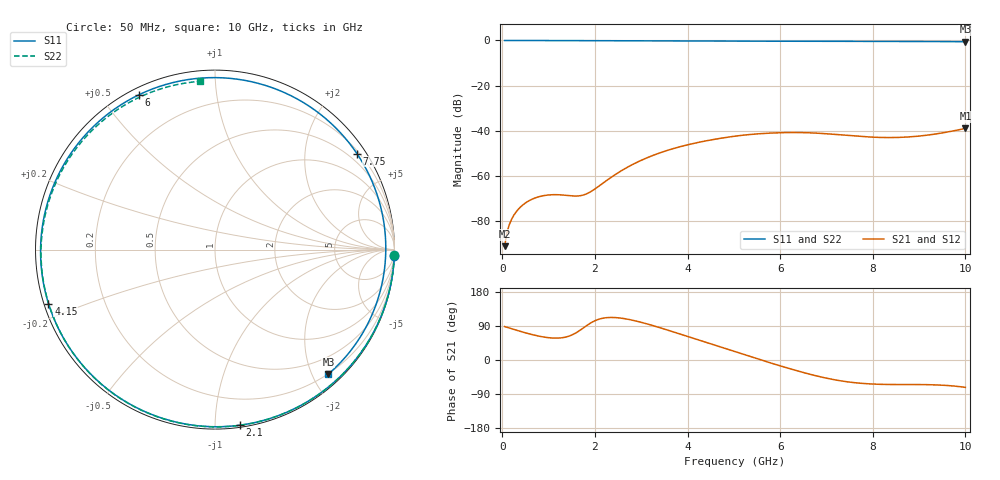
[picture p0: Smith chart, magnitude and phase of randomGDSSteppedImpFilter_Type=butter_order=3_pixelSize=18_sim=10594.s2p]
! freq	dB(S11)	phase(S11)	dB(S12)	phase(S12)
!  dB(S21)	phase(S21)	dB(S22)	phase(S22)
!S-par simulation data
#  GHz  S  DB  R 50
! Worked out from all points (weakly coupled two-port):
!   200 points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, 50 MHz to 10 GHz, reference 50 ohm
!   highest |S21| = -38.91 dB at 10 GHz (marker M1); lowest = -91.0 dB at 50 MHz (marker M2)
!   lowest |S11| = -0.6 dB at 10 GHz (marker M3), VSWR 31.19, Z = 9.77 - j112 ohm
!   |S11| at or under -10 dB: nowhere
!   |S22| runs from -0.5 to 0.0 dB; largest |S21 - S12| = 0
!   S11 on the Smith chart (normalised r, x): 50 MHz: 1, -57; 2.1 GHz: 0.01, -1.15; 4.15 GHz: 0.01, -0.16; 6 GHz: 0.03, +0.62; 7.75 GHz: 0.27, +3.24; 10 GHz: 0.20, -2.25
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0.05  -0.00 -2.0  -91.04 88.2  -91.04 88.2  -0.00 -1.8
0.15  -0.01 -6.0  -81.59 84.6  -81.59 84.6  -0.01 -5.4
0.45  -0.02 -17.8  -72.67 73.4  -72.67 73.4  -0.02 -16.2
0.75  -0.03 -29.6  -69.41 64.0  -69.41 64.0  -0.03 -26.8
1.25  -0.06 -49.1  -68.32 58.2  -68.32 58.2  -0.05 -44.1
1.75  -0.09 -68.4  -68.40 84.6  -68.40 84.6  -0.07 -60.7
2.1  -0.10 -81.8  -64.26 108.1  -64.26 108.1  -0.09 -71.8
2.75  -0.14 -106.8  -55.57 106.6  -55.57 106.6  -0.11 -91.2
3.4  -0.17 -132.0  -49.77 85.4  -49.77 85.4  -0.13 -109.3
4.15  -0.22 -162.0  -45.49 56.3  -45.49 56.3  -0.16 -128.7
4.6  -0.25 179.2  -43.69 38.8  -43.69 38.8  -0.18 -139.7
5.05  -0.28 159.7  -42.29 21.2  -42.29 21.2  -0.20 -150.3
5.5  -0.31 139.4  -41.36 3.4  -41.36 3.4  -0.22 -160.7
6  -0.34 116.1  -40.84 -15.4  -40.84 -15.4  -0.25 -172.0
6.35  -0.36 99.4  -40.75 -27.9  -40.75 -27.9  -0.27 -179.8
6.7  -0.38 82.6  -40.93 -39.4  -40.93 -39.4  -0.29 172.5
7.2  -0.39 59.0  -41.60 -52.8  -41.60 -52.8  -0.33 161.3
7.75  -0.40 34.1  -42.50 -61.5  -42.50 -61.5  -0.37 148.9
8.35  -0.42 8.9  -42.97 -64.6  -42.97 -64.6  -0.41 135.2
9.05  -0.46 -17.3  -42.21 -64.8  -42.21 -64.8  -0.46 118.6
9.55  -0.50 -34.0  -40.75 -66.8  -40.75 -66.8  -0.50 106.4
10  -0.56 -47.7  -38.91 -72.2  -38.91 -72.2  -0.53 95.2
